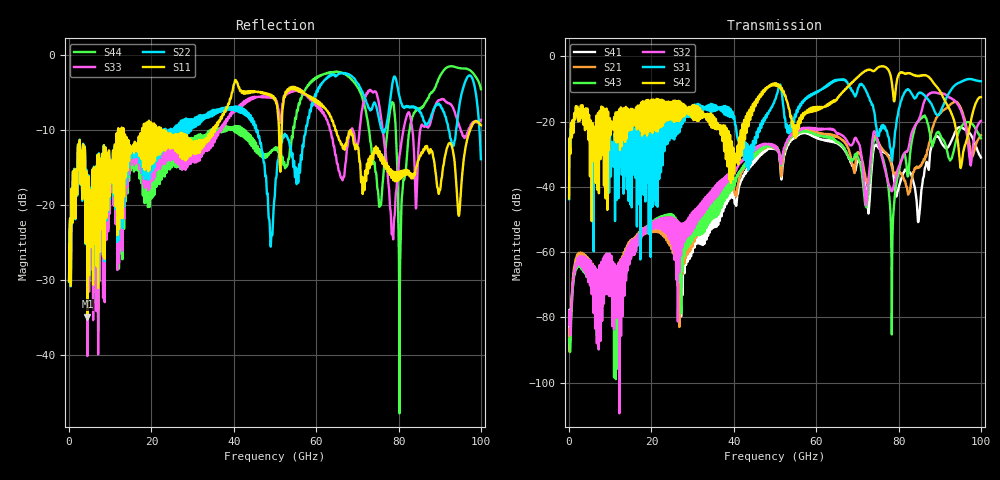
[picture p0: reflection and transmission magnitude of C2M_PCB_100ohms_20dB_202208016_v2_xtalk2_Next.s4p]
! Info: Touchstone file created by Circ.  Input file=Intel_C2M_200G_7p0in_202208016_staggered.circ
# Hz S RI R 50
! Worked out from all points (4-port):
!   10000 points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, 10 MHz to 100 GHz, reference 50 ohm
!   strongest paths, dB at 10 MHz, 25.01 GHz, 50.01 GHz, 75.01 GHz, 100 GHz:
!     S42: -43.5, -15.6, -8.5, -3.4, -12.5
!     S31: -43.8, -18.1, -13.3, -23.5, -7.6
!     S32: -82.3, -49.4, -27.4, -26.1, -19.8
!     S43: -86.6, -48.4, -27.6, -26.8, -25.1
!     S21: -83.5, -50.5, -27.6, -26.0, -24.2
!     S41: -85.8, -49.9, -28.0, -27.7, -31.0
!   lowest |S11| = -34.9 dB at 4.46 GHz (marker M1), VSWR 1.04, Z = 50.4 - j1.77 ohm
!   |S11| at or under -10 dB: start of sweep to 11.9 GHz; 23.11 GHz to 34.62 GHz (11.5 GHz wide, 39.8 % of centre); 68.4 GHz to 97.38 GHz (28.98 GHz wide, 35 % of centre)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
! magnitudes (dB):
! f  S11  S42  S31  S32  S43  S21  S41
! 10 MHz  -30.1  -43.5  -43.8  -82.3  -86.6  -83.5  -85.8
! 4.46 GHz  -34.9  -16.0  -17.2  -62.1  -64.7  -61.5  -63.7
! 56.41 GHz  -4.9  -17.9  -14.7  -22.2  -22.8  -22.3  -23.2
! 74.54 GHz  -12.2  -3.9  -21.0  -23.9  -25.3  -24.7  -27.1
! 78.42 GHz  -15.7  -8.4  -32.0  -41.3  -66.3  -34.0  -33.2
! 85.04 GHz  -13.6  -6.1  -11.2  -19.0  -19.5  -34.1  -48.6
! 100 GHz  -9.4  -12.5  -7.6  -19.8  -25.1  -24.2  -31.0
